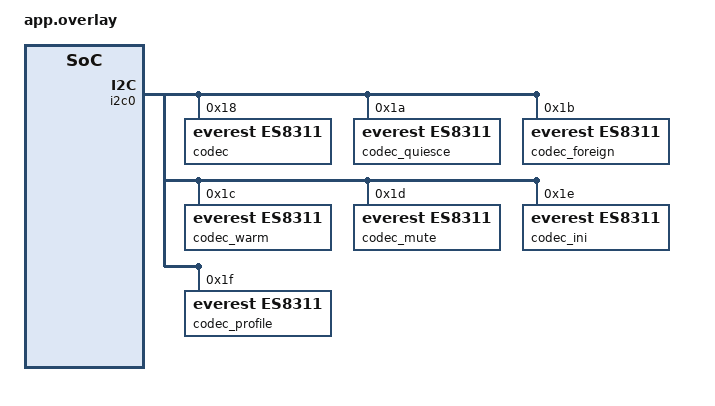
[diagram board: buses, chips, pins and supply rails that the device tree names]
/*
 * Copyright (c) 2026 Hsiu-Chi Tsai
 * SPDX-License-Identifier: Apache-2.0
 */

/* Use unique names and synthetic addresses for the emulator instances on this bus. */
&i2c0 {
	status = "okay";

	codec: es8311@18 {
		compatible = "everest,es8311";
		reg = <0x18>;
		status = "okay";
	};

	/* Deferred devices are probed once during the test application initialization. */

	/* A part on a bus that fails one of init()'s safety writes. */
	codec_quiesce: es8311@1a {
		compatible = "everest,es8311";
		reg = <0x1a>;
		zephyr,deferred-init;
		status = "okay";
	};

	/* Reject an unexpected chip identity. */
	codec_foreign: es8311@1b {
		compatible = "everest,es8311";
		reg = <0x1b>;
		zephyr,deferred-init;
		status = "okay";
	};

	/* A part warm-rebooted out of a capture route: PGA powered, MIC1 still on the mux. */
	codec_warm: es8311@1c {
		compatible = "everest,es8311";
		reg = <0x1c>;
		zephyr,deferred-init;
		status = "okay";
	};

	/* Fail identity reads while allowing writes. */
	codec_mute: es8311@1d {
		compatible = "everest,es8311";
		reg = <0x1d>;
		zephyr,deferred-init;
		status = "okay";
	};

	/* Fail INI_REG writes after a successful identity check. */
	codec_ini: es8311@1e {
		compatible = "everest,es8311";
		reg = <0x1e>;
		zephyr,deferred-init;
		status = "okay";
	};

	/* Exercise non-default properties: right DAC slot and 30 dB PGA. */
	codec_profile: es8311@1f {
		compatible = "everest,es8311";
		reg = <0x1f>;
		everest,mono-dac-source = "right";
		everest,mic-pga-gain-db = <30>;
		status = "okay";
	};
};
